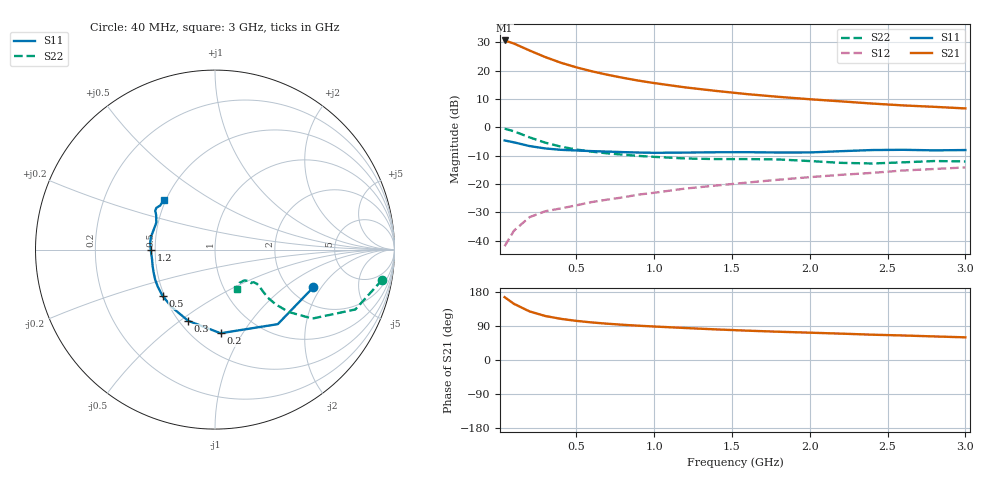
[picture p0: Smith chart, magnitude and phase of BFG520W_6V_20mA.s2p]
! Filename:  BFG520WK.S2P  Version:  4.0
! Philips part #: BFG520  Date: Jun 1994
! Bias condition: Vce=6.0V, Ic=20.0mA
! IN LINE PINNING: same data as with cross emitter pinning.
#  MHz  S  MA  R  50
! Freq  S11  S21  S12  S22  !GUM [dB]
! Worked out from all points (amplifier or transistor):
!   21 points, 40 MHz to 3 GHz, reference 50 ohm
!   highest |S21| = 30.6 dB at 40 MHz (marker M1)
!   |S21| within 3 dB of that: start of sweep to 178.1 MHz
!   unconditionally stable (mu >= 1): 848.1 MHz to end of sweep
!   at 300 MHz: K = 0.60, MSG = 27.2 dB, |S12| = -29.6 dB
!   at 1 GHz: K = 1.05, MAG = 18.0 dB, |S12| = -23.1 dB
!   at 3 GHz: K = 1.10, MAG = 8.5 dB, |S12| = -14.2 dB
!   S11 on the Smith chart (normalised r, x): 40 MHz: 2.63, -1.69; 200 MHz: 0.68, -0.81; 300 MHz: 0.55, -0.54; 500 MHz: 0.49, -0.30; 1.2 GHz: 0.47, -0.00; 3 GHz: 0.49, +0.32
40  0.586 -21.1  34.05 165.8  0.008 78.7  0.947 -10.2
100  0.543 -49.9  30.03 148.2  0.015 71.8  0.85 -23.1
200  0.467 -86.2  22.66 128.3  0.026 63.2  0.665 -35.3
300  0.424 -110.6  17.39 116.2  0.033 60.5  0.537 -40.3
400  0.401 -126.8  13.82 108.7  0.037 61.9  0.457 -42.0
500  0.39 -138.4  11.44 103.3  0.042 62.9  0.406 -42.3
600  0.38 -146.9  9.732 99.1  0.048 64.5  0.372 -41.6
700  0.373 -153.4  8.456 95.8  0.053 66.2  0.347 -40.8
800  0.365 -159.7  7.468 92.9  0.058 68.2  0.329 -40.0
900  0.359 -165.6  6.664 90.5  0.065 69.6  0.313 -39.4
1000  0.355 -170.7  6.033 88.4  0.07 70.3  0.301 -39.2
1200  0.358 -179.8  5.062 84.4  0.083 72.0  0.282 -40.2
1400  0.363 173.8  4.381 80.7  0.094 72.9  0.275 -42.1
1600  0.364 168.7  3.844 77.4  0.106 74.3  0.275 -42.8
1800  0.359 162.1  3.446 74.6  0.119 74.0  0.271 -42.6
2000  0.36 155.3  3.128 72.1  0.132 74.3  0.254 -43.1
2200  0.379 149.8  2.87 69.6  0.145 73.8  0.236 -46.8
2400  0.397 147.0  2.625 66.8  0.157 74.7  0.23 -53.8
2600  0.401 144.6  2.434 64.7  0.173 74.7  0.241 -59.7
2800  0.392 141.2  2.297 62.2  0.184 73.9  0.254 -61.2
3000  0.397 135.6  2.152 59.8  0.196 73.9  0.25 -61.3
